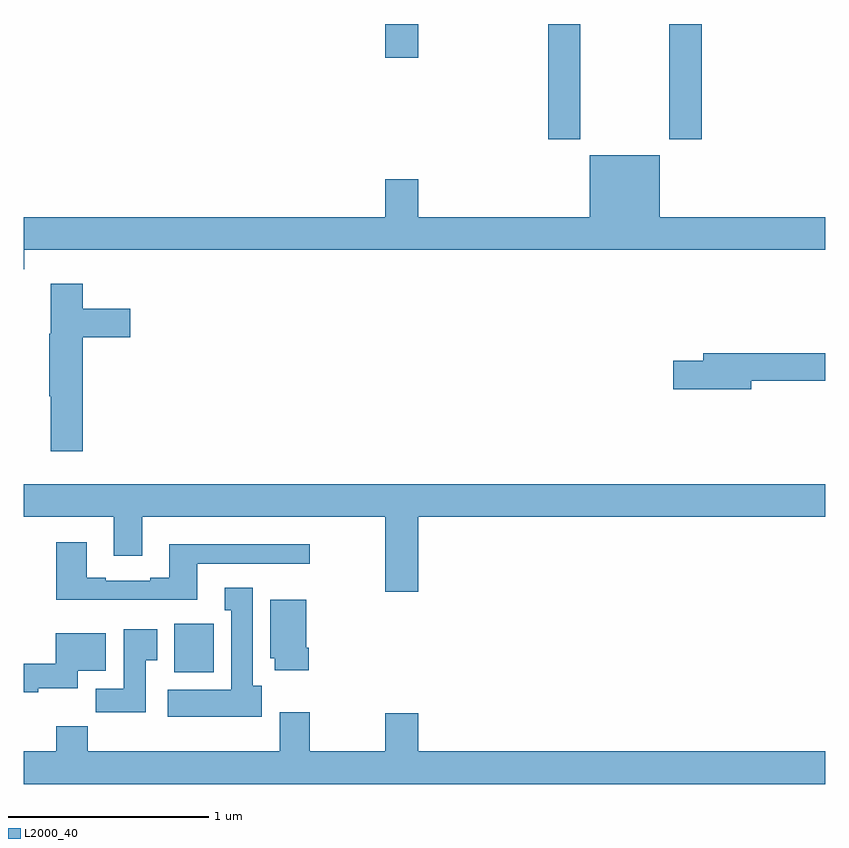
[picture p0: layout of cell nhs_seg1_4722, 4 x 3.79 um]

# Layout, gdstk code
import gdstk
lib = gdstk.Library(unit=1e-6, precision=1e-09)
def R(c, l, rs):  # rectangles x0, y0, x1, y1
    for r in rs: c.add(gdstk.rectangle(r[:2], r[2:], *l))
def P(c, l, *ps):  # polygons
    for p in ps: c.add(gdstk.Polygon(p, *l))
L2000_40 = (2000, 40)

nhs_seg1_4722 = lib.new_cell('nhs_seg1_4722')
R(nhs_seg1_4722, L2000_40, [(367.751,542.966,367.948,543.208), (369.617,545.625,369.777,546.199), (370.222,545.625,370.382,546.199), (368.804,546.03,368.968,546.199)])
P(nhs_seg1_4722, L2000_40, [(367.004,545.072),(371,545.072),(371,545.236),(370.174,545.236),(370.174,545.545),(369.824,545.545),(369.824,545.236),(368.968,545.236),(368.968,545.425),(368.804,545.425),(368.804,545.236),(367,545.236),(367,544.976),(367.004,544.976)],
  [(367.295,544.637),(367.531,544.637),(367.531,544.779),(367.295,544.779),(367.295,544.903),(367.136,544.903),(367.136,544.653),(367.129,544.653),(367.129,544.342),(367.136,544.342),(367.136,544.068),(367.295,544.068)],
  [(370.63,544.42),(371,544.42),(371,544.556),(370.391,544.556),(370.391,544.52),(370.242,544.52),(370.242,544.378),(370.63,544.378)],
  [(368.968,543.74),(371,543.74),(371,543.904),(367,543.904),(367,543.74),(367.451,543.74),(367.451,543.546),(367.591,543.546),(367.591,543.74),(368.804,543.74),(368.804,543.366),(368.968,543.366)],
  [(367.867,543.507),(368.428,543.507),(368.428,543.604),(367.727,543.604),(367.727,543.436),(367.631,543.436),(367.631,543.423),(367.411,543.423),(367.411,543.436),(367.315,543.436),(367.315,543.613),(367.163,543.613),(367.163,543.326),(367.867,543.326)],
  [(368.188,542.898),(368.143,542.898),(368.143,543.388),(368.003,543.388),(368.003,543.275),(368.036,543.275),(368.036,542.878),(367.719,542.878),(367.719,542.744),(368.188,542.744)],
  [(368.423,543.088),(368.41,543.088),(368.41,543.328),(368.231,543.328),(368.231,543.036),(368.252,543.036),(368.252,542.976),(368.423,542.976)],
  [(367.609,543.025),(367.666,543.025),(367.666,543.181),(367.499,543.181),(367.499,542.884),(367.36,542.884),(367.36,542.766),(367.609,542.766)],
  [(367.074,542.885),(367.27,542.885),(367.27,542.972),(367.411,542.972),(367.411,543.16),(367.16,543.16),(367.16,543.008),(367,543.008),(367,542.866),(367.074,542.866)],
  [(371,542.572),(368.968,542.572),(368.968,542.761),(368.804,542.761),(368.804,542.572),(368.427,542.572),(368.427,542.767),(368.279,542.767),(368.279,542.572),(367.319,542.572),(367.319,542.696),(367.163,542.696),(367.163,542.572),(367,542.572),(367,542.408),(371,542.408)])

lib.write_gds('nhs_seg1_4722.gds')
